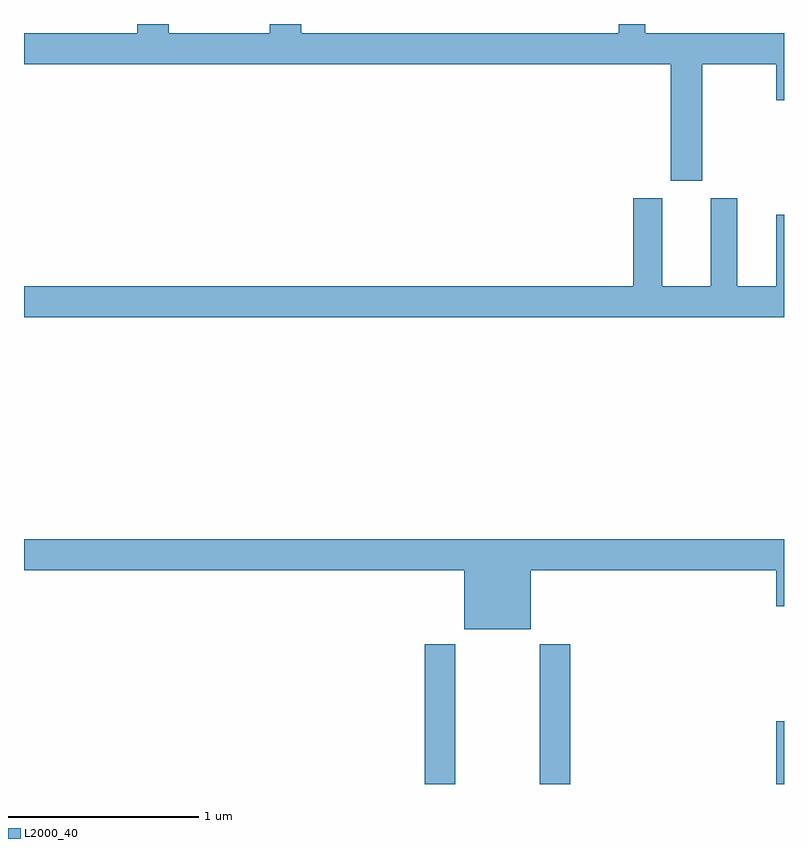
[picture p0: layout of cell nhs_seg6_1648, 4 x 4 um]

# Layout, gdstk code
import gdstk
lib = gdstk.Library(unit=1e-6, precision=1e-09)
def R(c, l, rs):  # rectangles x0, y0, x1, y1
    for r in rs: c.add(gdstk.rectangle(r[:2], r[2:], *l))
def P(c, l, *ps):  # polygons
    for p in ps: c.add(gdstk.Polygon(p, *l))
L2000_40 = (2000, 40)

nhs_seg6_1648 = lib.new_cell('nhs_seg6_1648')
R(nhs_seg6_1648, L2000_40, [(211.109,991.5,211.269,992.236), (211.714,991.5,211.874,992.236), (212.96,991.5,213,991.831)])
P(nhs_seg6_1648, L2000_40, [(212.569,995.288),(212.96,995.288),(212.96,995.1),(213,995.1),(213,995.452),(212.269,995.452),(212.269,995.5),(212.13,995.5),(212.13,995.452),(210.458,995.452),(210.458,995.5),(210.293,995.5),(210.293,995.452),(209.762,995.452),(209.762,995.5),(209.597,995.5),(209.597,995.452),(209,995.452),(209,995.288),(212.405,995.288),(212.405,994.674),(212.569,994.674)],
  [(213,994.495),(212.96,994.495),(212.96,994.12),(212.755,994.12),(212.755,994.582),(212.615,994.582),(212.615,994.12),(212.359,994.12),(212.359,994.582),(212.207,994.582),(212.207,994.12),(209,994.12),(209,993.956),(213,993.956)],
  [(211.666,992.624),(212.96,992.624),(212.96,992.436),(213,992.436),(213,992.788),(209,992.788),(209,992.624),(211.316,992.624),(211.316,992.315),(211.666,992.315)])

lib.write_gds('nhs_seg6_1648.gds')
